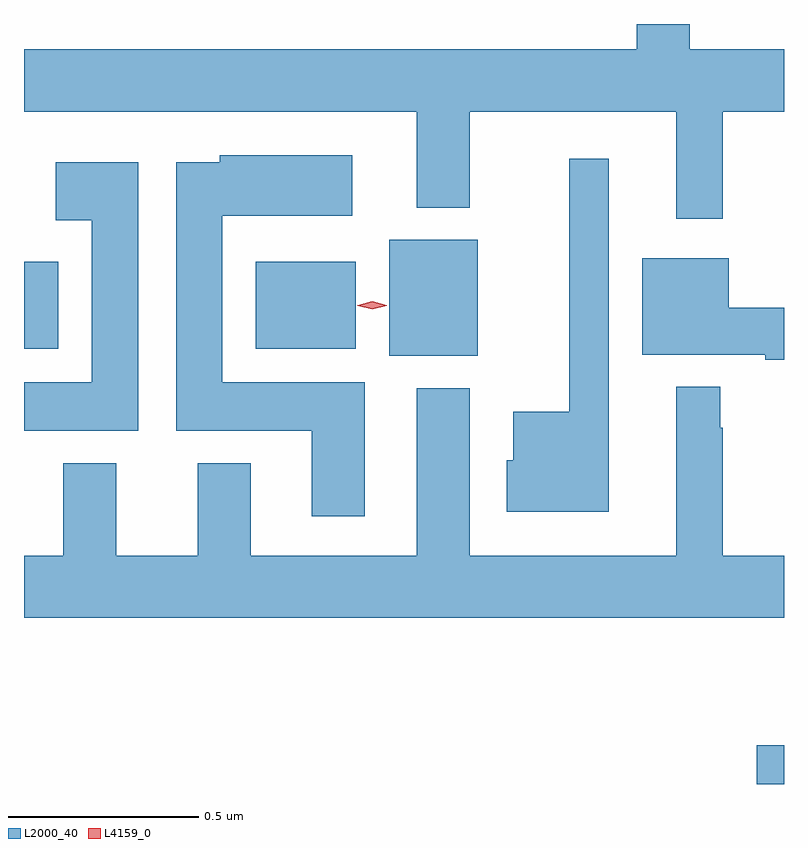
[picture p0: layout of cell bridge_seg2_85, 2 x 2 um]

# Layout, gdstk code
import gdstk
lib = gdstk.Library(unit=1e-6, precision=1e-09)
def R(c, l, rs):  # rectangles x0, y0, x1, y1
    for r in rs: c.add(gdstk.rectangle(r[:2], r[2:], *l))
def P(c, l, *ps):  # polygons
    for p in ps: c.add(gdstk.Polygon(p, *l))
L2000_40 = (2000, 40)
L4159_0 = (4159, 0)

bridge_seg2_85 = lib.new_cell('bridge_seg2_85')
R(bridge_seg2_85, L2000_40, [(269.232,612.567,269.304,612.669), (268.265,613.694,268.498,613.999), (267.304,613.712,267.394,613.942), (267.914,613.712,268.177,613.942)])
P(bridge_seg2_85, L2000_40, [(269.143,614.336),(269.304,614.336),(269.304,614.5),(269.056,614.5),(269.056,614.567),(268.916,614.567),(268.916,614.5),(267.304,614.5),(267.304,614.336),(268.337,614.336),(268.337,614.084),(268.477,614.084),(268.477,614.336),(269.021,614.336),(269.021,614.055),(269.143,614.055)],
  [(268.201,613.624),(267.826,613.624),(267.826,614.063),(268.168,614.063),(268.168,614.221),(267.819,614.221),(267.819,614.203),(267.704,614.203),(267.704,613.496),(268.061,613.496),(268.061,613.272),(268.201,613.272)],
  [(268.843,614.212),(268.739,614.212),(268.739,613.546),(268.592,613.546),(268.592,613.419),(268.574,613.419),(268.574,613.283),(268.843,613.283)],
  [(267.604,614.203),(267.387,614.203),(267.387,614.051),(267.482,614.051),(267.482,613.624),(267.304,613.624),(267.304,613.496),(267.604,613.496)],
  [(269.304,613.82),(269.158,613.82),(269.158,613.951),(268.931,613.951),(268.931,613.697),(269.254,613.697),(269.254,613.684),(269.304,613.684)],
  [(269.304,613.168),(269.143,613.168),(269.143,613.505),(269.136,613.505),(269.136,613.612),(269.021,613.612),(269.021,613.168),(268.477,613.168),(268.477,613.609),(268.337,613.609),(268.337,613.168),(267.901,613.168),(267.901,613.411),(267.761,613.411),(267.761,613.168),(267.547,613.168),(267.547,613.411),(267.407,613.411),(267.407,613.168),(267.304,613.168),(267.304,613.004),(269.304,613.004)])
P(bridge_seg2_85, L4159_0, [(268.22,613.817),(268.182,613.826),(268.181,613.827),(268.182,613.827),(268.22,613.837),(268.259,613.827),(268.259,613.827),(268.259,613.826)])

lib.write_gds('bridge_seg2_85.gds')
